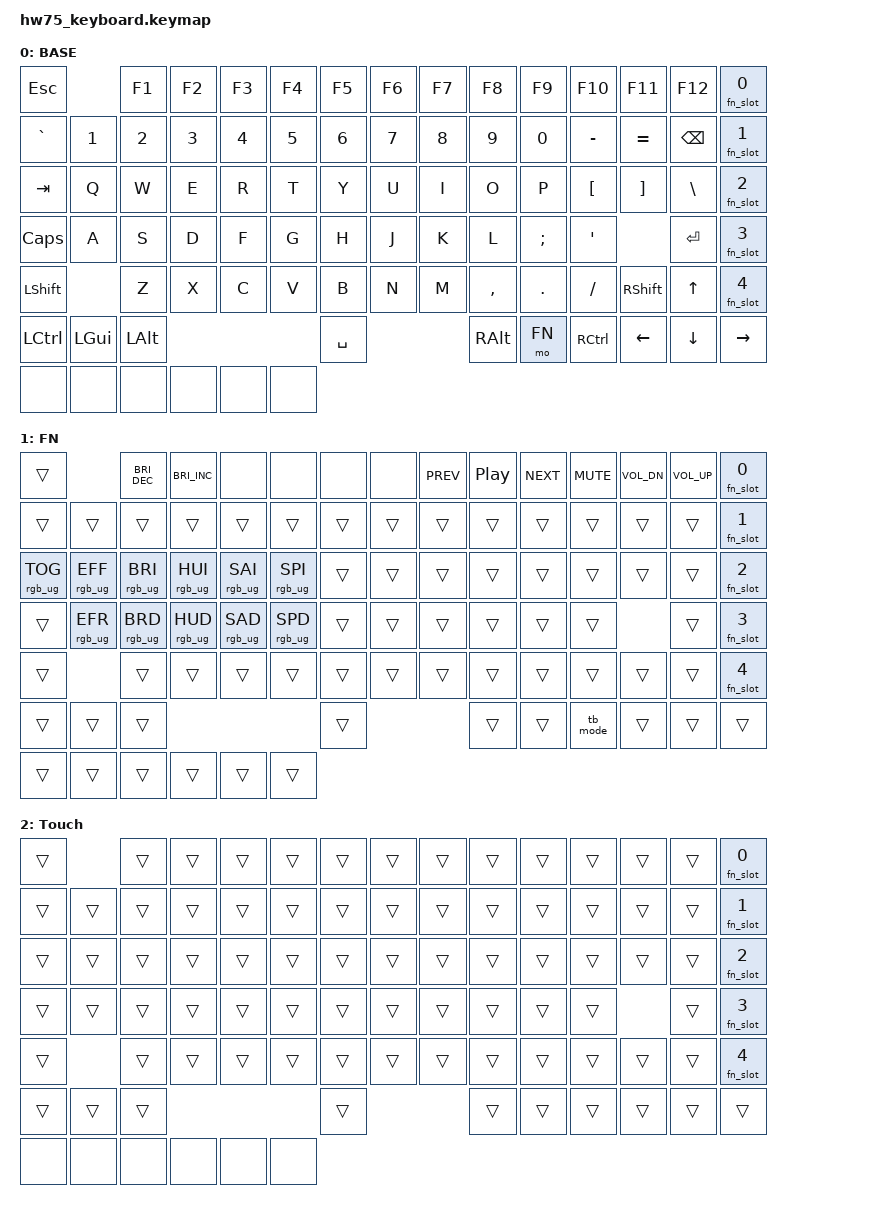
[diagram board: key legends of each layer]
/*
 * Copyright (c) 2022 The ZMK Contributors
 * SPDX-License-Identifier: MIT
 */

#include <behaviors.dtsi>
#include "dts/behaviors/touchbar_mode.dtsi"
#include "dts/behaviors/function_slot.dtsi"
#include <dt-bindings/zmk/keys.h>
#include <dt-bindings/zmk/rgb.h>

#define BASE 0
#define FN 1
#define TOUCH 2

&sl {
  release-after-ms = <500>;
};

/ {
	keymap {
		compatible = "zmk,keymap";
		base {
			label = "BASE";
			bindings = <
				&kp ESC             &kp F1    &kp F2  &kp F3  &kp F4  &kp F5    &kp F6  &kp F7  &kp F8    &kp F9    &kp F10   &kp F11   &kp F12   &fn_slot 0
				&kp GRAVE &kp N1    &kp N2    &kp N3  &kp N4  &kp N5  &kp N6    &kp N7  &kp N8  &kp N9    &kp N0    &kp MINUS &kp EQUAL &kp BSPC  &fn_slot 1
				&kp TAB   &kp Q     &kp W     &kp E   &kp R   &kp T   &kp Y     &kp U   &kp I   &kp O     &kp P     &kp LBKT  &kp RBKT  &kp BSLH  &fn_slot 2
				&kp CLCK  &kp A     &kp S     &kp D   &kp F   &kp G   &kp H     &kp J   &kp K   &kp L     &kp SEMI  &kp SQT             &kp RET   &fn_slot 3
				&kp LSHFT           &kp Z     &kp X   &kp C   &kp V   &kp B     &kp N   &kp M   &kp COMMA &kp DOT   &kp FSLH  &kp RSHFT &kp UP    &fn_slot 4
				&kp LCTRL &kp LGUI  &kp LALT                          &kp SPACE                 &kp RALT  &mo FN    &kp RCTRL &kp LEFT  &kp DOWN  &kp RIGHT
				&none &none &none &none &none &none
			>;
		};

		fn {
			label = "FN";
			bindings = <
				&trans                          &kp C_BRI_DEC   &kp C_BRI_INC   &none           &none           &none   &none   &kp C_PREV  &kp C_PP  &kp C_NEXT  &kp C_MUTE  &kp C_VOL_DN  &kp C_VOL_UP  &fn_slot 0
				&trans          &trans          &trans          &trans          &trans          &trans          &trans  &trans  &trans      &trans    &trans      &trans      &trans        &trans        &fn_slot 1
				&rgb_ug RGB_TOG &rgb_ug RGB_EFF &rgb_ug RGB_BRI &rgb_ug RGB_HUI &rgb_ug RGB_SAI &rgb_ug RGB_SPI &trans  &trans  &trans      &trans    &trans      &trans      &trans        &trans        &fn_slot 2
				&trans          &rgb_ug RGB_EFR &rgb_ug RGB_BRD &rgb_ug RGB_HUD &rgb_ug RGB_SAD &rgb_ug RGB_SPD &trans  &trans  &trans      &trans    &trans      &trans                    &trans        &fn_slot 3
				&trans                          &trans          &trans          &trans          &trans          &trans  &trans  &trans      &trans    &trans      &trans      &trans        &trans        &fn_slot 4
				&trans          &trans          &trans                                                          &trans                      &trans    &trans      &tb_mode    &trans        &trans        &trans
				&trans  &trans  &trans  &trans  &trans  &trans
			>;
		};

		touch {
			label = "Touch";
			bindings = <
				&trans          &trans  &trans  &trans  &trans  &trans  &trans  &trans  &trans  &trans  &trans  &trans  &trans  &fn_slot 0
				&trans  &trans  &trans  &trans  &trans  &trans  &trans  &trans  &trans  &trans  &trans  &trans  &trans  &trans  &fn_slot 1
				&trans  &trans  &trans  &trans  &trans  &trans  &trans  &trans  &trans  &trans  &trans  &trans  &trans  &trans  &fn_slot 2
				&trans  &trans  &trans  &trans  &trans  &trans  &trans  &trans  &trans  &trans  &trans  &trans          &trans  &fn_slot 3
				&trans          &trans  &trans  &trans  &trans  &trans  &trans  &trans  &trans  &trans  &trans  &trans  &trans  &fn_slot 4
				&trans  &trans  &trans                          &trans                  &trans  &trans  &trans  &trans  &trans  &trans
				&none &none &none &none &none &none
			>;
		};
	};
};
